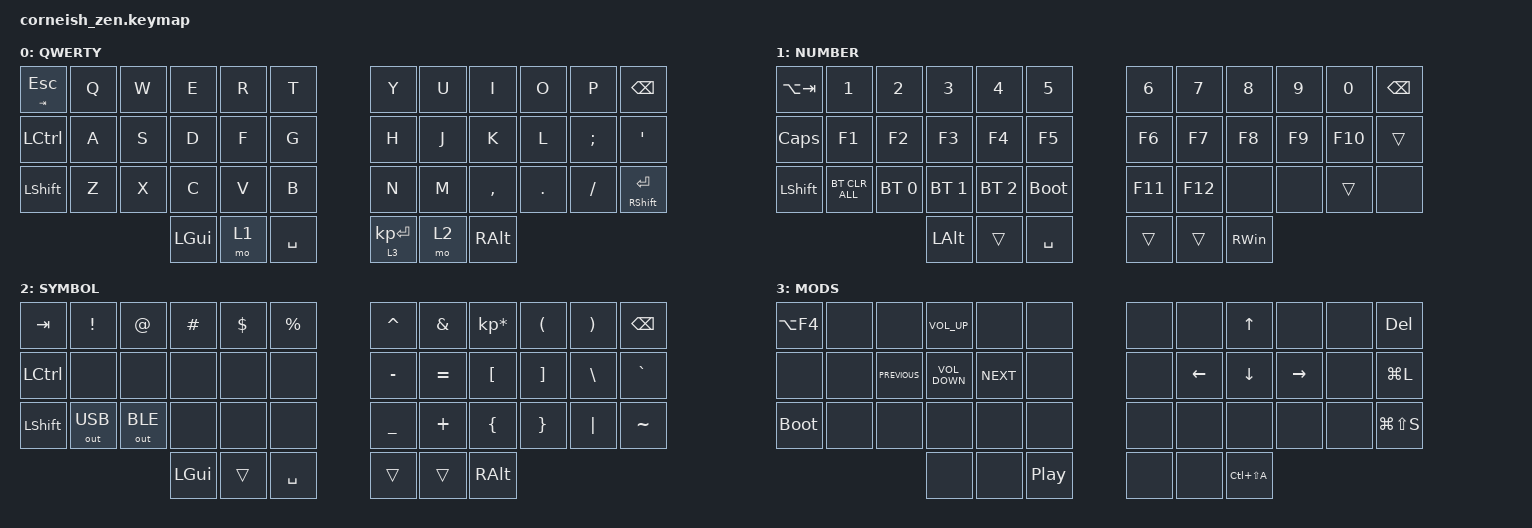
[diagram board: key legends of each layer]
/*
*
* Copyright (c) 2021 Darryl deHaan
* SPDX-License-Identifier: MIT
*
*/

#include <behaviors.dtsi>
#include <dt-bindings/zmk/bt.h>
#include <dt-bindings/zmk/keys.h>
#include <dt-bindings/zmk/outputs.h>

/ {
    chosen {
        zmk,matrix_transform = &default_transform;

        // zmk,matrix_transform = &five_column_transform;
    };
};

/ {
    keymap {
        compatible = "zmk,keymap";

        default_layer {
            display-name = "QWERTY";

            // --------------------------------------------------------------------------------
            // |  TAB |  Q  |  W  |  E  |  R  |  T  |   |  Y  |  U   |  I  |  O  |  P  | BKSP |
            // | CTRL |  A  |  S  |  D  |  F  |  G  |   |  H  |  J   |  K  |  L  |  ;  |  '   |
            // | SHFT |  Z  |  X  |  C  |  V  |  B  |   |  N  |  M   |  ,  |  .  |  /  | ESC  |
            //                    | GUI | LWR | SPC |   | ENT | RSE  | ALT |

            bindings = <
&mt TAB ESCAPE  &kp Q  &kp W  &kp E     &kp R  &kp T        &kp Y           &kp U  &kp I      &kp O    &kp P     &kp BSPC
&kp LCTRL       &kp A  &kp S  &kp D     &kp F  &kp G        &kp H           &kp J  &kp K      &kp L    &kp SEMI  &kp SQT
&kp LSHFT       &kp Z  &kp X  &kp C     &kp V  &kp B        &kp N           &kp M  &kp COMMA  &kp DOT  &kp FSLH  &mt RIGHT_SHIFT ENTER
                              &kp LGUI  &mo 1  &kp SPACE    &lt 3 KP_ENTER  &mo 2  &kp RALT
            >;
        };

        lower_layer {
            display-name = "NUMBER";

            // -----------------------------------------------------------------------------------------
            // |  TAB |  1  |  2  |  3  |  4  |  5  |   |  6  |  7  |  8  |  9  |  0  | BKSP |
            // | BTCLR| BT1 | BT2 | BT3 | BT4 |SD_UL|   | LFT | DWN |  UP | RGT |     |      |
            // | SHFT |     |     |     |     |     |   |     |     |     |     |     |      |
            //                    | GUI |     | SPC |   | ENT |     | ALT |

            bindings = <
&kp LA(TAB)   &kp N1          &kp N2        &kp N3        &kp N4        &kp N5         &kp N6   &kp N7   &kp N8         &kp N9  &kp N0   &kp BSPC
&kp CAPSLOCK  &kp F1          &kp F2        &kp F3        &kp F4        &kp F5         &kp F6   &kp F7   &kp F8         &kp F9  &kp F10  &trans
&kp LSHFT     &bt BT_CLR_ALL  &bt BT_SEL 0  &bt BT_SEL 1  &bt BT_SEL 2  &bootloader    &kp F11  &kp F12  &none          &none   &trans   &none
                                            &kp LEFT_ALT  &trans        &kp SPACE      &trans   &trans   &kp RIGHT_WIN
            >;
        };

        raise_layer {
            display-name = "SYMBOL";

            // -----------------------------------------------------------------------------------------
            // |  TAB |  !  |  @  |  #  |  $  |  %  |   |  ^  |  &  |  *  |  (  |  )  | BKSP |
            // | CTRL |SD_UL|     |     |     |     |   |  -  |  =  |  [  |  ]  |  \  |  `   |
            // | SHFT |     |     |     |     |     |   |  _  |  +  |  {  |  }  | "|" |  ~   |
            //                    | GUI |     | SPC |   | ENT |     | ALT |

            bindings = <
&kp TAB    &kp EXCL      &kp AT        &kp HASH  &kp DLLR  &kp PRCNT    &kp CARET  &kp AMPS   &kp KP_MULTIPLY  &kp LPAR  &kp RPAR  &kp BSPC
&kp LCTRL  &none         &none         &none     &none     &none        &kp MINUS  &kp EQUAL  &kp LBKT         &kp RBKT  &kp BSLH  &kp GRAVE
&kp LSHFT  &out OUT_USB  &out OUT_BLE  &none     &none     &none        &kp UNDER  &kp PLUS   &kp LBRC         &kp RBRC  &kp PIPE  &kp TILDE
                                       &kp LGUI  &trans    &kp SPACE    &trans     &trans     &kp RALT
            >;
        };

        Mods {
            bindings = <
&kp LA(F4)   &none  &none           &kp C_VOLUME_UP    &none       &none               &none  &none           &kp UP_ARROW    &none            &none  &kp DELETE
&none        &none  &kp C_PREVIOUS  &kp C_VOLUME_DOWN  &kp C_NEXT  &none               &none  &kp LEFT_ARROW  &kp DOWN_ARROW  &kp RIGHT_ARROW  &none  &kp LG(L)
&bootloader  &none  &none           &none              &none       &none               &none  &none           &none           &none            &none  &kp LG(LS(S))
                                    &none              &none       &kp C_PLAY_PAUSE    &none  &none           &kp LC(LS(A))
            >;

            label = "MODS";
        };
    };
};
